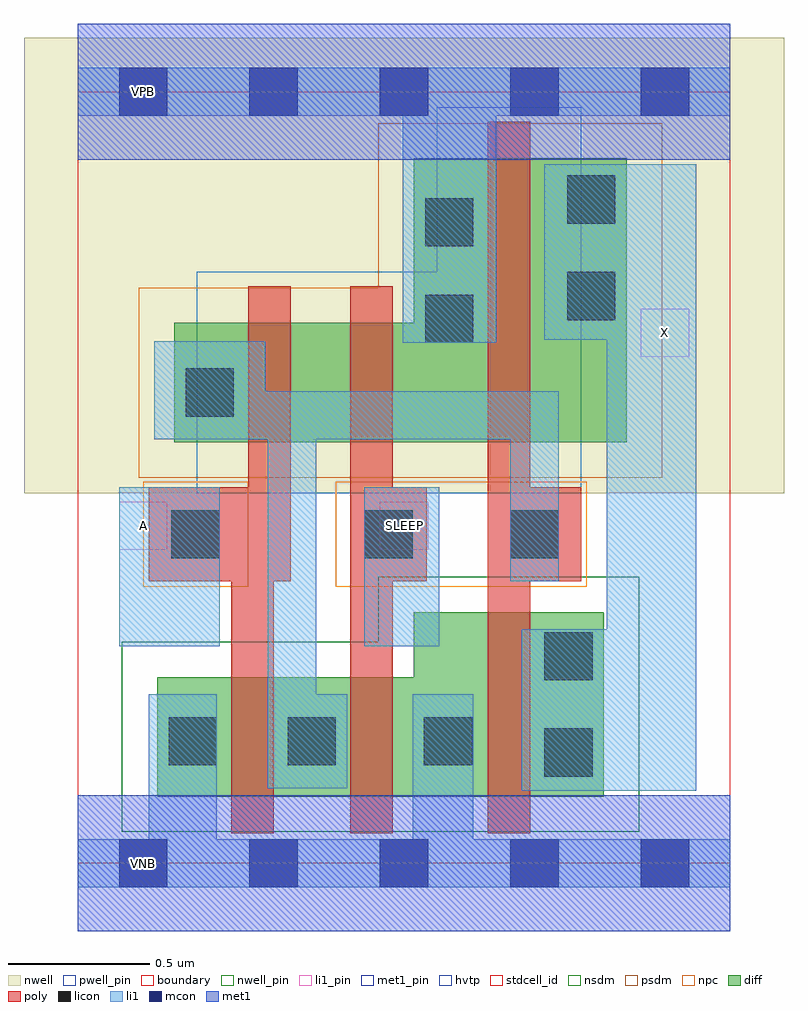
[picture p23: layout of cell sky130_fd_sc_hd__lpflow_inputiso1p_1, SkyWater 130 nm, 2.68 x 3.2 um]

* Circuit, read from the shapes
.subckt sky130_fd_sc_hd__lpflow_inputiso1p_1 A SLEEP VGND VNB VPB VPWR X
XM1 n1 A VGND VNB sky130_fd_pr__nfet_01v8 w=0.42 l=0.15
XM2 VGND SLEEP n1 VNB sky130_fd_pr__nfet_01v8 w=0.42 l=0.15
XM3 X n1 VGND VNB sky130_fd_pr__nfet_01v8 w=0.65 l=0.15
XM4 n2 A n1 VPB sky130_fd_pr__pfet_01v8_hvt w=0.42 l=0.15
XM5 VPWR SLEEP n2 VPB sky130_fd_pr__pfet_01v8_hvt w=0.42 l=0.15
XM6 X n1 VPWR VPB sky130_fd_pr__pfet_01v8_hvt w=1 l=0.15
.ends

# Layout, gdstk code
import gdstk
lib = gdstk.Library(unit=1e-6, precision=1e-09)
def R(c, l, rs):  # rectangles x0, y0, x1, y1
    for r in rs: c.add(gdstk.rectangle(r[:2], r[2:], *l))
def A(c, l, x, y, w, h, nx, ny, dx, dy):  # array of equal rectangles
    R(c, l, [(x+i*dx, y+j*dy, x+i*dx+w, y+j*dy+h) for i in range(nx) for j in range(ny)])
nwell_pin = (64, 16)
nwell = (64, 20)
diff = (65, 20)
poly = (66, 20)
licon = (66, 44)
li1_pin = (67, 16)
li1 = (67, 20)
mcon = (67, 44)
met1_pin = (68, 16)
met1 = (68, 20)
hvtp = (78, 44)
stdcell_id = (81, 4)
nsdm = (93, 44)
psdm = (94, 20)
npc = (95, 20)
pwell_pin = (122, 16)
boundary = (235, 4)

sky130_fd_sc_hd__lpflow_ = lib.new_cell('sky130_fd_sc_hd__lpflow_inputiso1p_1')
R(sky130_fd_sc_hd__lpflow_, nwell_pin, [(0.145,2.635,0.315,2.805)])
R(sky130_fd_sc_hd__lpflow_, nwell, [(-0.19,1.305,2.49,2.91)])
R(sky130_fd_sc_hd__lpflow_, diff, [(0.28,0.235,1.855,0.655), (1.185,0.655,1.855,0.885), (0.34,1.485,1.935,1.905), (1.185,1.905,1.935,2.485)])
R(sky130_fd_sc_hd__lpflow_, poly, [(0.54,0.105,0.69,0.995), (0.96,0.105,1.11,0.995), (1.445,0.105,1.595,0.995), (0.25,0.995,0.75,1.325), (0.96,0.995,1.23,1.325), (1.445,0.995,1.775,1.325), (0.6,1.325,0.75,2.035), (0.96,1.325,1.11,2.035), (1.445,1.325,1.595,2.615)])
R(sky130_fd_sc_hd__lpflow_, licon, [(1.645,0.305,1.815,0.475), (0.32,0.345,0.49,0.515), (0.74,0.345,0.91,0.515), (1.22,0.345,1.39,0.515), (1.645,0.645,1.815,0.815), (0.33,1.075,0.5,1.245), (1.01,1.075,1.18,1.245), (1.525,1.075,1.695,1.245), (0.38,1.575,0.55,1.745), (1.225,1.835,1.395,2.005), (1.725,1.915,1.895,2.085), (1.225,2.175,1.395,2.345), (1.725,2.255,1.895,2.425)])
R(sky130_fd_sc_hd__lpflow_, li1_pin, [(0.145,1.105,0.315,1.275), (1.065,1.105,1.235,1.275), (1.985,1.785,2.155,1.955)])
R(sky130_fd_sc_hd__lpflow_, li1, [(0,-0.085,2.3,0.085), (0.25,0.085,0.49,0.595), (1.18,0.085,1.395,0.595), (1.565,0.255,2.18,0.825), (0.67,0.265,0.95,0.595), (0.67,0.595,0.84,1.495), (0.145,0.765,0.5,1.325), (1.01,0.765,1.275,1.325), (1.865,0.825,2.18,1.845), (1.525,0.995,1.695,1.495), (0.27,1.495,1.695,1.665), (0.27,1.665,0.66,1.84), (1.145,1.835,1.475,2.635), (1.645,1.845,2.18,2.465), (0,2.635,2.3,2.805)])
A(sky130_fd_sc_hd__lpflow_, mcon, 0.145, -0.085, 0.17, 0.17, 5, 2, 0.46, 2.72)
R(sky130_fd_sc_hd__lpflow_, met1_pin, [(0.145,-0.085,0.315,0.085), (0.145,2.635,0.315,2.805)])
R(sky130_fd_sc_hd__lpflow_, met1, [(0,-0.24,2.3,0.24), (0,2.48,2.3,2.96)])
R(sky130_fd_sc_hd__lpflow_, hvtp, [(0.42,1.305,1.775,2.085), (1.265,2.085,1.775,2.665)])
R(sky130_fd_sc_hd__lpflow_, stdcell_id, [(0,0,2.3,2.72)])
R(sky130_fd_sc_hd__lpflow_, nsdm, [(0.155,0.11,1.98,0.78), (1.06,0.78,1.98,1.01)])
R(sky130_fd_sc_hd__lpflow_, psdm, [(0.215,1.36,2.06,2.03), (1.06,2.03,2.06,2.61)])
R(sky130_fd_sc_hd__lpflow_, npc, [(0.23,0.975,0.6,1.345), (0.91,0.975,1.795,1.345)])
R(sky130_fd_sc_hd__lpflow_, pwell_pin, [(0.145,-0.085,0.315,0.085)])
R(sky130_fd_sc_hd__lpflow_, boundary, [(0,0,2.3,2.72)])
sky130_fd_sc_hd__lpflow_.add(gdstk.Label('VPB', (0.23,2.72), layer=64, texttype=5))
sky130_fd_sc_hd__lpflow_.add(gdstk.Label('VNB', (0.23,0), layer=64, texttype=59))
sky130_fd_sc_hd__lpflow_.add(gdstk.Label('VGND', (0.23,0), layer=68, texttype=5))
sky130_fd_sc_hd__lpflow_.add(gdstk.Label('VPWR', (0.23,2.72), layer=68, texttype=5))
sky130_fd_sc_hd__lpflow_.add(gdstk.Label('X', (2.07,1.87), layer=67, texttype=5))
sky130_fd_sc_hd__lpflow_.add(gdstk.Label('SLEEP', (1.15,1.19), layer=67, texttype=5))
sky130_fd_sc_hd__lpflow_.add(gdstk.Label('A', (0.23,1.19), layer=67, texttype=5))

lib.write_gds('sky130_fd_sc_hd__lpflow_inputiso1p_1.gds')
